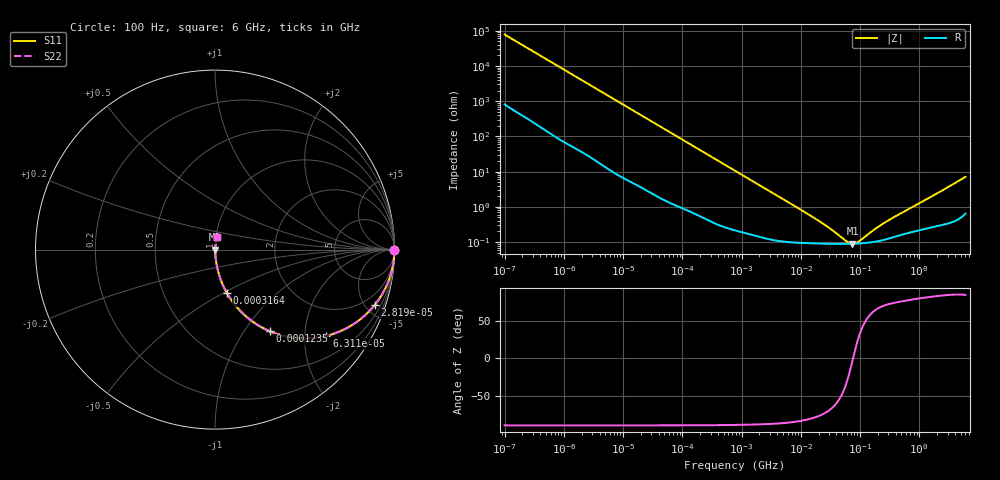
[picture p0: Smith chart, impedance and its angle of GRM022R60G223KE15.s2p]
!Murata Part Number: GRM022R60G223KE15
!These Parameters are Measured in Series Mode Connection
!Data Generated on Mar 30, 2021
!  o--ll--o
!Port1  Port2
!  o------o
!Operation Temp=25[degC], DC Bias Voltage=0[V]
!Freq. Start=100[Hz] Stop=6[GHz] 401[Steps]
# Hz S RI R 50
!Freq.(Hz) S11(Real) S11(Imag) S21(Real) S21(Imag) S12(Real) S12(Imag) S22(Real) S22(Imag)
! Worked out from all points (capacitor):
!   401 points, 100 Hz to 6 GHz, reference 50 ohm
!   read as one part in series: C = 20.3 nF near 109 Hz
!   lowest |Z| = 89.9 mohm at 74.56 MHz (marker M1)
!   series resonance near 76.1 MHz, so ESL is about 210 pH
!   S11 on the Smith chart (normalised r, x): 100 Hz: open; 28.19 kHz: 1.05, -5.71; 63.12 kHz: 1.03, -2.56; 123.5 kHz: 1.02, -1.31; 316.4 kHz: 1.01, -0.52; 6 GHz: 1.01, +0.14
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100  1 -0.00128  1.49e-05 0.00128  1.49e-05 0.00128  1 -0.00128
2008  0.9991 -0.0253  0.000869 0.0253  0.000869 0.0253  0.9991 -0.0253
9204  0.986 -0.1133  0.014 0.1133  0.014 0.1133  0.986 -0.1133
17227  0.9544 -0.2043  0.0456 0.2043  0.0456 0.2043  0.9544 -0.2043
28191  0.8887 -0.3101  0.1113 0.3101  0.1113 0.3101  0.8887 -0.3101
40335  0.7979 -0.397  0.2021 0.397  0.2021 0.397  0.7979 -0.397
63115  0.6203 -0.4804  0.3797 0.4804  0.3797 0.4804  0.6203 -0.4804
86348  0.4685 -0.4936  0.5315 0.4936  0.5315 0.4936  0.4685 -0.4936
123542  0.3039 -0.454  0.6961 0.454  0.6961 0.454  0.3039 -0.454
193316  0.1542 -0.3546  0.8458 0.3546  0.8458 0.3546  0.1542 -0.3546
316350  0.0657 -0.2407  0.9343 0.2407  0.9343 0.2407  0.0657 -0.2407
774597  0.0132 -0.1045  0.9868 0.1045  0.9868 0.1045  0.0132 -0.1045
2481164  0.0024 -0.0334  0.9976 0.0334  0.9976 0.0334  0.0024 -0.0334
1.555665e7  0.000948 -0.00517  0.9991 0.00517  0.9991 0.00517  0.000948 -0.00517
3.045065e7  0.000898 -0.00233  0.9991 0.00233  0.9991 0.00233  0.000898 -0.00233
5.960426e7  0.00089 -0.000548  0.9991 0.000548  0.9991 0.000548  0.00089 -0.000548
7.455971e7  0.000897 -4.49e-05  0.9991 4.49e-05  0.9991 4.49e-05  0.000897 -4.49e-05
9.326766e7  0.000911 0.000455  0.9991 -0.000455  0.9991 -0.000455  0.000911 0.000455
1.825626e8  0.00103 0.00217  0.999 -0.00217  0.999 -0.00217  0.00103 0.00217
3.124326e8  0.00129 0.0041  0.9987 -0.0041  0.9987 -0.0041  0.00129 0.0041
1.873145e9  0.00327 0.0224  0.9967 -0.0224  0.9967 -0.0224  0.00327 0.0224
6e9  0.0113 0.0695  0.9887 -0.0695  0.9887 -0.0695  0.0113 0.0695
